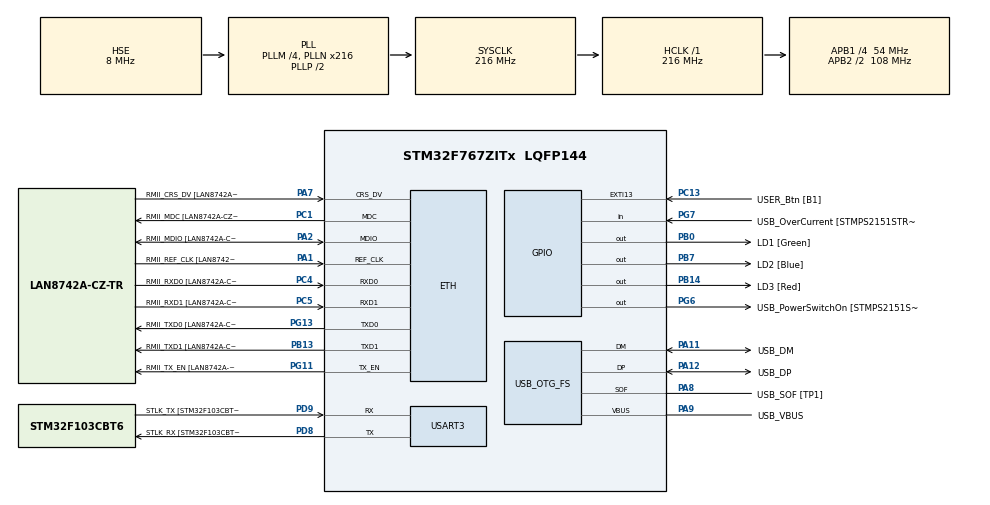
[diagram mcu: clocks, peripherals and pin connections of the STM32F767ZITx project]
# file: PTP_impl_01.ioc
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Dma.Request0=USART3_RX
Dma.Request1=USART3_TX
Dma.USART3_RX.0.Direction=DMA_PERIPH_TO_MEMORY
Dma.USART3_RX.0.FIFOMode=DMA_FIFOMODE_DISABLE
Dma.USART3_RX.0.Instance=DMA1_Stream1
Dma.USART3_RX.0.MemDataAlignment=DMA_MDATAALIGN_BYTE
Dma.USART3_RX.0.MemInc=DMA_MINC_ENABLE
Dma.USART3_RX.0.Mode=DMA_NORMAL
Dma.USART3_RX.0.PeriphDataAlignment=DMA_PDATAALIGN_BYTE
Dma.USART3_RX.0.PeriphInc=DMA_PINC_DISABLE
Dma.USART3_RX.0.Priority=DMA_PRIORITY_LOW
Dma.USART3_TX.1.Direction=DMA_MEMORY_TO_PERIPH
Dma.USART3_TX.1.FIFOMode=DMA_FIFOMODE_DISABLE
Dma.USART3_TX.1.Instance=DMA1_Stream3
Dma.USART3_TX.1.MemDataAlignment=DMA_MDATAALIGN_BYTE
Dma.USART3_TX.1.MemInc=DMA_MINC_ENABLE
Dma.USART3_TX.1.Mode=DMA_NORMAL
Dma.USART3_TX.1.PeriphDataAlignment=DMA_PDATAALIGN_BYTE
Dma.USART3_TX.1.PeriphInc=DMA_PINC_DISABLE
Dma.USART3_TX.1.Priority=DMA_PRIORITY_LOW
ETH.MediaInterface=HAL_ETH_RMII_MODE
ETH.PHY_Name=LAN8742A_PHY_ADDRESS
ETH.PHY_Value=0
ETH.PhyAddress=0
ETH.RxMode=ETH_RXINTERRUPT_MODE
Mcu.Family=STM32F7
Mcu.Name=STM32F767ZITx
Mcu.Package=LQFP144
NVIC.DMA1_Stream1_IRQn=true\:0\:0\:false\:false\:true\:false\:true\:true
NVIC.DMA1_Stream3_IRQn=true\:0\:0\:false\:false\:true\:false\:true\:true
NVIC.ETH_IRQn=true\:0\:0\:false\:false\:true\:true\:true\:true
NVIC.PriorityGroup=NVIC_PRIORITYGROUP_4
PA1.GPIO_Label=RMII_REF_CLK [LAN8742A-CZ-TR_REFCLK0]
PA1.Mode=RMII
PA1.Signal=ETH_REF_CLK
PA10.GPIO_Label=USB_ID
PA10.Signal=USB_OTG_FS_ID
PA11.GPIO_Label=USB_DM
PA11.Mode=Device_Only
PA11.Signal=USB_OTG_FS_DM
PA12.GPIO_Label=USB_DP
PA12.Mode=Device_Only
PA12.Signal=USB_OTG_FS_DP
PA13.GPIO_Label=TMS
PA13.Mode=Serial_Wire
PA13.Signal=SYS_JTMS-SWDIO
PA14.GPIO_Label=TCK
PA14.Mode=Serial_Wire
PA14.Signal=SYS_JTCK-SWCLK
PA2.GPIO_Label=RMII_MDIO [LAN8742A-CZ-TR_MDIO]
PA2.Mode=RMII
PA2.Signal=ETH_MDIO
PA7.GPIO_Label=RMII_CRS_DV [LAN8742A-CZ-TR_CRS_DV]
PA7.Mode=RMII
PA7.Signal=ETH_CRS_DV
PA8.GPIO_Label=USB_SOF [TP1]
PA8.Mode=Activate_SOF_FS
PA8.Signal=USB_OTG_FS_SOF
PA9.GPIO_Label=USB_VBUS
PA9.Mode=Activate_VBUS
PA9.Signal=USB_OTG_FS_VBUS
PB0.GPIO_Label=LD1 [Green]
PB0.Signal=GPIO_Output
PB13.GPIO_Label=RMII_TXD1 [LAN8742A-CZ-TR_TXD1]
PB13.Mode=RMII
PB13.Signal=ETH_TXD1
PB14.GPIO_Label=LD3 [Red]
PB14.Signal=GPIO_Output
PB3.GPIO_Label=SWO
PB3.Signal=SYS_JTDO-SWO
PB7.GPIO_Label=LD2 [Blue]
PB7.Signal=GPIO_Output
PC1.GPIO_Label=RMII_MDC [LAN8742A-CZ-TR_MDC]
PC1.Mode=RMII
PC1.Signal=ETH_MDC
PC13.GPIO_Label=USER_Btn [B1]
PC13.Signal=GPXTI13
PC14/OSC32_IN.Mode=LSE-External-Oscillator
PC14/OSC32_IN.Signal=RCC_OSC32_IN
PC15/OSC32_OUT.Mode=LSE-External-Oscillator
PC15/OSC32_OUT.Signal=RCC_OSC32_OUT
PC4.GPIO_Label=RMII_RXD0 [LAN8742A-CZ-TR_RXD0]
PC4.Mode=RMII
PC4.Signal=ETH_RXD0
PC5.GPIO_Label=RMII_RXD1 [LAN8742A-CZ-TR_RXD1]
PC5.Mode=RMII
PC5.Signal=ETH_RXD1
PD8.GPIO_Label=STLK_RX [STM32F103CBT6_PA3]
PD8.Mode=Asynchronous
PD8.Signal=USART3_TX
PD9.GPIO_Label=STLK_TX [STM32F103CBT6_PA2]
PD9.Mode=Asynchronous
PD9.Signal=USART3_RX
PG11.GPIO_Label=RMII_TX_EN [LAN8742A-CZ-TR_TXEN]
PG11.Mode=RMII
PG11.Signal=ETH_TX_EN
PG13.GPIO_Label=RMII_TXD0 [LAN8742A-CZ-TR_TXD0]
PG13.Mode=RMII
PG13.Signal=ETH_TXD0
PG6.GPIO_Label=USB_PowerSwitchOn [STMPS2151STR_EN]
PG6.Signal=GPIO_Output
PG7.GPIO_Label=USB_OverCurrent [STMPS2151STR_FAULT]
PG7.Signal=GPIO_Input
PH0/OSC_IN.GPIO_Label=MCO [STM32F103CBT6_PA8]
PH0/OSC_IN.Mode=HSE-External-Clock-Source
PH0/OSC_IN.Signal=RCC_OSC_IN
PH1/OSC_OUT.Mode=HSE-External-Clock-Source
PH1/OSC_OUT.Signal=RCC_OSC_OUT
ProjectManager.HeapSize=0x200
ProjectManager.StackSize=0x400
ProjectManager.TargetToolchain=STM32CubeIDE
RCC.48MHZClocksFreq_Value=24000000
RCC.AHBFreq_Value=216000000
RCC.APB1CLKDivider=RCC_HCLK_DIV4
RCC.APB1Freq_Value=54000000
RCC.APB1TimFreq_Value=108000000
RCC.APB2CLKDivider=RCC_HCLK_DIV2
RCC.APB2Freq_Value=108000000
RCC.APB2TimFreq_Value=216000000
RCC.CortexFreq_Value=216000000
RCC.HCLKFreq_Value=216000000
RCC.HSE_VALUE=8000000
RCC.HSI_VALUE=16000000
RCC.PLLM=4
RCC.PLLMUL=RCC_PLL_MUL9
RCC.PLLN=216
RCC.PLLQ=9
RCC.PRESCALERUSB=RCC_USBCLKSOURCE_PLL_DIV1_5
RCC.SYSCLKFreq_VALUE=216000000
RCC.SYSCLKSource=RCC_SYSCLKSOURCE_PLLCLK
RCC.SYSCLKSourceVirtual=RCC_SYSCLKSOURCE_PLLCLK
RCC.USBFreq_Value=48000000
RCC.VCOOutputFreq_Value=432000000
USART3.VirtualMode-Asynchronous=VM_ASYNC
USB_OTG_FS.VirtualMode=Device_Only
board=NUCLEO-F767ZI

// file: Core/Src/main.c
/* USER CODE BEGIN Header */
/**
  ******************************************************************************
  * @file           : main.c
  * @brief          : Main program body
  ******************************************************************************
  * @attention
  *
  * Copyright (c) 2026 STMicroelectronics.
  * All rights reserved.
  *
  * This software is licensed under terms that can be found in the LICENSE file
  * in the root directory of this software component.
  * If no LICENSE file comes with this software, it is provided AS-IS.
  *
  ******************************************************************************
  */
/* USER CODE END Header */
#include "main.h"
#include "string.h"

/* USER CODE BEGIN PD */
#define PTP_SYNC        0
#define PTP_DELAY_REQ   1
#define PTP_FOLLOW_UP   8
#define PTP_DELAY_RESP  9
#define PTP_ANNOUNCE    11
/* USER CODE END PD */

#if defined ( __ICCARM__ ) /*!< IAR Compiler */
#pragma location=0x2007c000
ETH_DMADescTypeDef  DMARxDscrTab[ETH_RX_DESC_CNT]; /* Ethernet Rx DMA Descriptors */
#pragma location=0x2007c0a0
ETH_DMADescTypeDef  DMATxDscrTab[ETH_TX_DESC_CNT]; /* Ethernet Tx DMA Descriptors */

#elif defined ( __CC_ARM )  /* MDK ARM Compiler */

__attribute__((at(0x2007c000))) ETH_DMADescTypeDef  DMARxDscrTab[ETH_RX_DESC_CNT]; /* Ethernet Rx DMA Descriptors */
__attribute__((at(0x2007c0a0))) ETH_DMADescTypeDef  DMATxDscrTab[ETH_TX_DESC_CNT]; /* Ethernet Tx DMA Descriptors */

#elif defined ( __GNUC__ ) /* GNU Compiler */

ETH_DMADescTypeDef DMARxDscrTab[ETH_RX_DESC_CNT] __attribute__((section(".RxDecripSection"))); /* Ethernet Rx DMA Descriptors */
ETH_DMADescTypeDef DMATxDscrTab[ETH_TX_DESC_CNT] __attribute__((section(".TxDecripSection")));   /* Ethernet Tx DMA Descriptors */
#endif

ETH_TxPacketConfig TxConfig;

ETH_HandleTypeDef heth;

UART_HandleTypeDef huart3;
DMA_HandleTypeDef hdma_usart3_rx;
DMA_HandleTypeDef hdma_usart3_tx;

PCD_HandleTypeDef hpcd_USB_OTG_FS;

/* USER CODE BEGIN PV */
uint8_t Rx_Buff[ETH_RX_DESC_CNT][1524];
uint8_t delay_req_frame[58]; //14 b Ethernet header + 44 b PTPv2 Delay_Req by L2

volatile uint32_t sec;
volatile uint32_t nsec;

volatile uint32_t rx_sec;
volatile uint32_t rx_nsec;

volatile uint16_t eth_type;
volatile uint8_t ptp_message;

volatile uint32_t rx_irq_count;
volatile uint32_t ptp_rx_count;

volatile uint32_t rx_hw_sec;
volatile uint32_t rx_hw_nsec;

volatile uint16_t ptp_seq_id;

volatile uint32_t follow_sec;
volatile uint32_t follow_nsec;

volatile uint32_t sync_rx_sec;
volatile uint32_t sync_rx_nsec;

volatile uint16_t sync_seq_id;

volatile int64_t ptp_offset;
volatile int32_t ptp_offset_ns;
volatile int32_t test_offset;

volatile uint8_t ptp_synced = 0;

volatile uint8_t sync_received = 0;

volatile uint16_t delayreq_seq_id = 0;
volatile uint8_t  delayreq_pending = 0;

volatile uint32_t tx_t3_sec;
volatile uint32_t tx_t3_nsec;

volatile uint32_t resp_t4_sec;
volatile uint32_t resp_t4_nsec;

volatile int64_t  mean_path_delay;
volatile int64_t  ptp_offset_e2e;

int64_t t1 = 0;
int64_t t2 = 0;
int64_t t3 = 0;
int64_t t4 = 0;

volatile uint32_t delayreq_tx_desc_idx = 0;
volatile uint8_t  delayreq_tx_ts_waiting = 0;

volatile int64_t offset_avg = 0;

volatile uint32_t delayresp_count = 0;
volatile uint32_t tx_ts_seen = 0;
volatile uint32_t check_1 = 0;
volatile uint32_t check_2 = 0;

volatile int64_t  delta_sync = 0;
volatile int64_t  delta_delay = 0;

/* USER CODE END PV */

void SystemClock_Config(void);
static void MX_GPIO_Init(void);
static void MX_DMA_Init(void);
static void MX_ETH_Init(void);
static void MX_USART3_UART_Init(void);
static void MX_USB_OTG_FS_PCD_Init(void);
static uint8_t PTP_TryReadTxTimestamp(void);

int main(void)
{

  /* MCU Configuration--------------------------------------------------------*/

  /* Reset of all peripherals, Initializes the Flash interface and the Systick. */
  HAL_Init();

  /* Configure the system clock */
  SystemClock_Config();

  /* USER CODE BEGIN SysInit */
  //SCB_DisableDCache();
  /* USER CODE END SysInit */

  /* Initialize all configured peripherals */
  MX_GPIO_Init();
  MX_DMA_Init();
  MX_ETH_Init();
  MX_USART3_UART_Init();
  MX_USB_OTG_FS_PCD_Init();
  /* USER CODE BEGIN 2 */

  HAL_ETH_RegisterRxAllocateCallback(&heth, HAL_ETH_RxAllocateCallback);
  HAL_ETH_RegisterRxLinkCallback(&heth, HAL_ETH_RxLinkCallback);
  HAL_ETH_RegisterTxFreeCallback(&heth, HAL_ETH_TxFreeCallback);

  HAL_NVIC_EnableIRQ(ETH_IRQn);

  HAL_ETH_Start_IT(&heth);
  __HAL_ETH_DMA_ENABLE_IT(&heth, ETH_DMA_IT_T);

  /* Configure PTP clock increment */
  ETH->MACFFR |= ETH_MACFFR_RA | ETH_MACFFR_PM;

  ETH->PTPSSIR = 5;

  /* Configure timestamping */

  ETH->PTPTSCR =
        ETH_PTPTSCR_TSE
      | ETH_PTPTSCR_TSPTPPSV2E
      | ETH_PTPTSCR_TSSPTPOEFE
      | ETH_PTPTSCR_TSSEME
      | ETH_PTPTSCR_TSSSR
      | ETH_PTPTSCR_TSSARFE;

  /* Initialize timestamp */

  ETH->PTPTSHUR = 0;
  ETH->PTPTSLUR = 0;

  ETH->PTPTSCR |= ETH_PTPTSCR_TSSTI;

  /* USER CODE END 2 */

  /* Infinite loop */
  while (1)
  {

    /* USER CODE BEGIN 3 */
	  sec = ETH->PTPTSHR;
	  nsec = ETH->PTPTSLR;

	  PTP_TryReadTxTimestamp();

	  HAL_ETH_ReleaseTxPacket(&heth);

  }
  /* USER CODE END 3 */
}

void SystemClock_Config(void)
{
  RCC_OscInitTypeDef RCC_OscInitStruct = {0};
  RCC_ClkInitTypeDef RCC_ClkInitStruct = {0};

  /** Configure LSE Drive Capability
  */
  HAL_PWR_EnableBkUpAccess();

  /** Configure the main internal regulator output voltage
  */
  __HAL_RCC_PWR_CLK_ENABLE();
  __HAL_PWR_VOLTAGESCALING_CONFIG(PWR_REGULATOR_VOLTAGE_SCALE1);

  /** Initializes the RCC Oscillators according to the specified parameters
  * in the RCC_OscInitTypeDef structure.
  */
  RCC_OscInitStruct.OscillatorType = RCC_OSCILLATORTYPE_HSE;
  RCC_OscInitStruct.HSEState = RCC_HSE_BYPASS;
  RCC_OscInitStruct.PLL.PLLState = RCC_PLL_ON;
  RCC_OscInitStruct.PLL.PLLSource = RCC_PLLSOURCE_HSE;
  RCC_OscInitStruct.PLL.PLLM = 4;
  RCC_OscInitStruct.PLL.PLLN = 216;
  RCC_OscInitStruct.PLL.PLLP = RCC_PLLP_DIV2;
  RCC_OscInitStruct.PLL.PLLQ = 9;
  RCC_OscInitStruct.PLL.PLLR = 2;
  if (HAL_RCC_OscConfig(&RCC_OscInitStruct) != HAL_OK)
  {
    Error_Handler();
  }

  /** Activate the Over-Drive mode
  */
  if (HAL_PWREx_EnableOverDrive() != HAL_OK)
  {
    Error_Handler();
  }

  /** Initializes the CPU, AHB and APB buses clocks
  */
  RCC_ClkInitStruct.ClockType = RCC_CLOCKTYPE_HCLK|RCC_CLOCKTYPE_SYSCLK
                              |RCC_CLOCKTYPE_PCLK1|RCC_CLOCKTYPE_PCLK2;
  RCC_ClkInitStruct.SYSCLKSource = RCC_SYSCLKSOURCE_PLLCLK;
  RCC_ClkInitStruct.AHBCLKDivider = RCC_SYSCLK_DIV1;
  RCC_ClkInitStruct.APB1CLKDivider = RCC_HCLK_DIV4;
  RCC_ClkInitStruct.APB2CLKDivider = RCC_HCLK_DIV2;

  if (HAL_RCC_ClockConfig(&RCC_ClkInitStruct, FLASH_LATENCY_7) != HAL_OK)
  {
    Error_Handler();
  }
}

static void MX_ETH_Init(void)
{

   static uint8_t MACAddr[6];

  heth.Instance = ETH;
  MACAddr[0] = 0x00;
  MACAddr[1] = 0x80;
  MACAddr[2] = 0xE1;
  MACAddr[3] = 0x00;
  MACAddr[4] = 0x00;
  MACAddr[5] = 0x00;
  heth.Init.MACAddr = &MACAddr[0];
  heth.Init.MediaInterface = HAL_ETH_RMII_MODE;
  heth.Init.TxDesc = DMATxDscrTab;
  heth.Init.RxDesc = DMARxDscrTab;
  heth.Init.RxBuffLen = 1524;

  if (HAL_ETH_Init(&heth) != HAL_OK)
  {
    Error_Handler();
  }

  ETH->DMABMR |= ETH_DMABMR_AAB;
  ETH->DMABMR |= ETH_DMABMR_EDE;

  memset(&TxConfig, 0 , sizeof(ETH_TxPacketConfig));
  TxConfig.Attributes = ETH_TX_PACKETS_FEATURES_CSUM | ETH_TX_PACKETS_FEATURES_CRCPAD;
  TxConfig.ChecksumCtrl = ETH_CHECKSUM_IPHDR_PAYLOAD_INSERT_PHDR_CALC;
  TxConfig.CRCPadCtrl = ETH_CRC_PAD_INSERT;

}

static void MX_USART3_UART_Init(void)
{

  huart3.Instance = USART3;
  huart3.Init.BaudRate = 115200;
  huart3.Init.WordLength = UART_WORDLENGTH_8B;
  huart3.Init.StopBits = UART_STOPBITS_1;
  huart3.Init.Parity = UART_PARITY_NONE;
  huart3.Init.Mode = UART_MODE_TX_RX;
  huart3.Init.HwFlowCtl = UART_HWCONTROL_NONE;
  huart3.Init.OverSampling = UART_OVERSAMPLING_16;
  huart3.Init.OneBitSampling = UART_ONE_BIT_SAMPLE_DISABLE;
  huart3.AdvancedInit.AdvFeatureInit = UART_ADVFEATURE_NO_INIT;
  if (HAL_UART_Init(&huart3) != HAL_OK)
  {
    Error_Handler();
  }

}

static void MX_USB_OTG_FS_PCD_Init(void)
{

  hpcd_USB_OTG_FS.Instance = USB_OTG_FS;
  hpcd_USB_OTG_FS.Init.dev_endpoints = 6;
  hpcd_USB_OTG_FS.Init.speed = PCD_SPEED_FULL;
  hpcd_USB_OTG_FS.Init.dma_enable = DISABLE;
  hpcd_USB_OTG_FS.Init.phy_itface = PCD_PHY_EMBEDDED;
  hpcd_USB_OTG_FS.Init.Sof_enable = ENABLE;
  hpcd_USB_OTG_FS.Init.low_power_enable = DISABLE;
  hpcd_USB_OTG_FS.Init.lpm_enable = DISABLE;
  hpcd_USB_OTG_FS.Init.vbus_sensing_enable = ENABLE;
  hpcd_USB_OTG_FS.Init.use_dedicated_ep1 = DISABLE;
  if (HAL_PCD_Init(&hpcd_USB_OTG_FS) != HAL_OK)
  {
    Error_Handler();
  }

}

static void MX_DMA_Init(void)
{

  /* DMA controller clock enable */
  __HAL_RCC_DMA1_CLK_ENABLE();

  /* DMA interrupt init */
  /* DMA1_Stream1_IRQn interrupt configuration */
  HAL_NVIC_SetPriority(DMA1_Stream1_IRQn, 0, 0);
  HAL_NVIC_EnableIRQ(DMA1_Stream1_IRQn);
  /* DMA1_Stream3_IRQn interrupt configuration */
  HAL_NVIC_SetPriority(DMA1_Stream3_IRQn, 0, 0);
  HAL_NVIC_EnableIRQ(DMA1_Stream3_IRQn);

}

static void MX_GPIO_Init(void)
{
  GPIO_InitTypeDef GPIO_InitStruct = {0};

  /* GPIO Ports Clock Enable */
  __HAL_RCC_GPIOC_CLK_ENABLE();
  __HAL_RCC_GPIOH_CLK_ENABLE();
  __HAL_RCC_GPIOA_CLK_ENABLE();
  __HAL_RCC_GPIOB_CLK_ENABLE();
  __HAL_RCC_GPIOD_CLK_ENABLE();
  __HAL_RCC_GPIOG_CLK_ENABLE();

  /*Configure GPIO pin Output Level */
  HAL_GPIO_WritePin(GPIOB, LD1_Pin|LD3_Pin|LD2_Pin, GPIO_PIN_RESET);

  /*Configure GPIO pin Output Level */
  HAL_GPIO_WritePin(USB_PowerSwitchOn_GPIO_Port, USB_PowerSwitchOn_Pin, GPIO_PIN_RESET);

  /*Configure GPIO pin : USER_Btn_Pin */
  GPIO_InitStruct.Pin = USER_Btn_Pin;
  GPIO_InitStruct.Mode = GPIO_MODE_IT_RISING;
  GPIO_InitStruct.Pull = GPIO_NOPULL;
  HAL_GPIO_Init(USER_Btn_GPIO_Port, &GPIO_InitStruct);

  /*Configure GPIO pins : LD1_Pin LD3_Pin LD2_Pin */
  GPIO_InitStruct.Pin = LD1_Pin|LD3_Pin|LD2_Pin;
  GPIO_InitStruct.Mode = GPIO_MODE_OUTPUT_PP;
  GPIO_InitStruct.Pull = GPIO_NOPULL;
  GPIO_InitStruct.Speed = GPIO_SPEED_FREQ_LOW;
  HAL_GPIO_Init(GPIOB, &GPIO_InitStruct);

  /*Configure GPIO pin : USB_PowerSwitchOn_Pin */
  GPIO_InitStruct.Pin = USB_PowerSwitchOn_Pin;
  GPIO_InitStruct.Mode = GPIO_MODE_OUTPUT_PP;
  GPIO_InitStruct.Pull = GPIO_NOPULL;
  GPIO_InitStruct.Speed = GPIO_SPEED_FREQ_LOW;
  HAL_GPIO_Init(USB_PowerSwitchOn_GPIO_Port, &GPIO_InitStruct);

  /*Configure GPIO pin : USB_OverCurrent_Pin */
  GPIO_InitStruct.Pin = USB_OverCurrent_Pin;
  GPIO_InitStruct.Mode = GPIO_MODE_INPUT;
  GPIO_InitStruct.Pull = GPIO_NOPULL;
  HAL_GPIO_Init(USB_OverCurrent_GPIO_Port, &GPIO_InitStruct);

}

/* USER CODE BEGIN 4 */

#define ETH_RX_BUFFER_SIZE 1524

static void PTP_BuildDelayReqFrame(uint8_t *frame, uint16_t seq_id)
{
    memset(frame, 0, 58);

    /* Ethernet header */
    frame[0]  = 0x01;
    frame[1]  = 0x1B;
    frame[2]  = 0x19;
    frame[3]  = 0x00;
    frame[4]  = 0x00;
    frame[5]  = 0x00;

    frame[6]  = 0x00;
    frame[7]  = 0x80;
    frame[8]  = 0xE1;
    frame[9]  = 0x00;
    frame[10] = 0x00;
    frame[11] = 0x00;

    frame[12] = 0x88;
    frame[13] = 0xF7;

    /* PTP header */
    frame[14] = 0x01;      /* messageType = Delay_Req */
    frame[15] = 0x02;      /* versionPTP = 2 */

    frame[16] = 0x00;
    frame[17] = 44;        /* messageLength */

    frame[18] = 0x00;      /* domainNumber */
    frame[19] = 0x00;

    frame[20] = 0x00;      /* flags[15:8] */
    frame[21] = 0x00;      /* flags[7:0] */

    /* correctionField = 0 */
    /* bytes 22..29 already zero */

    /* sourcePortIdentity: пока достаточно clockIdentity + port 1 */
    frame[34] = 0x00;
    frame[35] = 0x80;
    frame[36] = 0xE1;
    frame[37] = 0xFF;
    frame[38] = 0xFE;
    frame[39] = 0x00;
    frame[40] = 0x00;
    frame[41] = 0x00;
    frame[42] = 0x00;
    frame[43] = 0x01;

    frame[44] = (seq_id >> 8) & 0xFF;
    frame[45] = seq_id & 0xFF;

    frame[46] = 0x01;      /* controlField для Delay_Req */
    frame[47] = 0x7F;      /* logMessageInterval */

    /* bytes 48..57 originTimestamp = 0 */
}

static void PTP_SendDelayReq(void)
{
    TxConfig.Attributes = ETH_TX_PACKETS_FEATURES_CSUM |
                          ETH_TX_PACKETS_FEATURES_CRCPAD;

    ETH_BufferTypeDef txBuffer;
    uint32_t seq = ++delayreq_seq_id;

    PTP_BuildDelayReqFrame(delay_req_frame, seq);

    txBuffer.buffer = delay_req_frame;
    txBuffer.len    = sizeof(delay_req_frame);
    txBuffer.next   = NULL;

    TxConfig.Length   = sizeof(delay_req_frame);
    TxConfig.TxBuffer = &txBuffer;

    /* Запоминаем индекс текущего TX descriptor ДО передачи */
    delayreq_tx_desc_idx = heth.TxDescList.CurTxDesc;

    ETH_DMADescTypeDef *txdesc =
            (ETH_DMADescTypeDef *)heth.TxDescList.TxDesc[delayreq_tx_desc_idx];

        uint32_t *td = (uint32_t *)txdesc;

        td[0] |= (1UL << 25);   // TDES0.TTSE = request TX timestamp for this frame

    if (HAL_ETH_Transmit_IT(&heth, &TxConfig) == HAL_OK)
    {
        delayreq_pending = 1;
        delayreq_tx_ts_waiting = 1;
    }
}

static uint8_t PTP_TryReadTxTimestamp(void)
{
    if (!delayreq_tx_ts_waiting)
        return 0;

    ETH_DMADescTypeDef *txdesc =
        (ETH_DMADescTypeDef *)heth.TxDescList.TxDesc[delayreq_tx_desc_idx];

    uint32_t *td = (uint32_t *)txdesc;

    if ((td[0] & (1UL << 31)) == 0) // OWN = 0
    {
        if (td[0] & (1UL << 17))   // TTSS
        {
            tx_t3_nsec = td[6];
            tx_t3_sec  = td[7];
            tx_ts_seen++;

            delayreq_tx_ts_waiting = 0;
            return 1;
        }
    }

    return 0;
}

static uint32_t PTP_ParseSecondsLow32(const uint8_t *ts)
{
    return ((uint32_t)ts[2] << 24) |
           ((uint32_t)ts[3] << 16) |
           ((uint32_t)ts[4] << 8)  |
           ((uint32_t)ts[5]);
}

static uint32_t PTP_ParseNanoseconds(const uint8_t *ts)
{
    return ((uint32_t)ts[6] << 24) |
           ((uint32_t)ts[7] << 16) |
           ((uint32_t)ts[8] << 8)  |
           ((uint32_t)ts[9]);
}

static int64_t PTP_ToNs(uint32_t sec, uint32_t nsec)
{
    return ((int64_t)sec * 1000000000LL) + (int64_t)nsec;
}

void HAL_ETH_RxAllocateCallback(uint8_t **buff)
{
	static uint32_t idx = 0;

	*buff = Rx_Buff[idx];

	idx++;
	if (idx >= ETH_RX_DESC_CNT)
	    idx = 0;
}

void HAL_ETH_RxLinkCallback(void **pStart, void **pEnd, uint8_t *buff, uint16_t len)
{
    if (*pStart == NULL)
    {
        *pStart = buff;
    }
    else
    {
        *(uint8_t **)(*pEnd) = buff;
    }

    *pEnd = buff;
}

void HAL_ETH_TxFreeCallback(uint32_t *buff)
{
//    ETH_DMADescTypeDef *desc = (ETH_DMADescTypeDef*)buff;
//    uint32_t *d = (uint32_t*)desc;
//
//    tx_ts_seen++;
//
//    if (d[0] & (1 << 17))
//    {
//    	tx_t3_nsec = d[6];
//    	tx_t3_sec  = d[7];
//
//    }
//    else
//    {
//        return; // или игнор пакета
//    }

	(void)buff;

}

void HAL_ETH_RxCpltCallback(ETH_HandleTypeDef *heth)

{
    uint8_t *buf = NULL;

    if (HAL_ETH_ReadData(heth, (void**)&buf) == HAL_OK)
    {
        rx_irq_count++;

        eth_type = ((uint16_t)buf[12] << 8) | buf[13];
        rx_sec = ETH->PTPTSHR;
        rx_nsec = ETH->PTPTSLR;

        if (eth_type == 0x88F7)
        {
            ptp_message = buf[14] & 0x0F;
            ptp_seq_id = ((uint16_t)buf[44] << 8) | buf[45];
            ptp_rx_count++;

            uint32_t idx = heth->RxDescList.RxDescIdx;

            if (idx == 0)
                idx = ETH_RX_DESC_CNT - 1;
            else
                idx--;

            ETH_DMADescTypeDef *desc =
                (ETH_DMADescTypeDef *)heth->RxDescList.RxDesc[idx];

            uint32_t *d = (uint32_t*)desc;

            if (d[0] & (1 << 17))   // timestamp valid
            {
                rx_hw_nsec = d[6];
                rx_hw_sec  = d[7];
            }

            if (ptp_message == PTP_SYNC)
            {
                sync_seq_id = ptp_seq_id;

                sync_rx_sec  = rx_hw_sec;
                sync_rx_nsec = rx_hw_nsec;

                sync_received = 1;
            }

            if (ptp_message == PTP_FOLLOW_UP)
            {
            	const uint8_t *ts = &buf[48];

            	follow_sec  = PTP_ParseSecondsLow32(ts);
            	follow_nsec = PTP_ParseNanoseconds(ts);

                if (ptp_seq_id == sync_seq_id && sync_received)
                {

                    if (ptp_synced)
                    {
//                        if (ptp_offset_ns > 50000 || ptp_offset_ns < -50000)
//                        {
//                            int32_t corr = -ptp_offset_ns;
//                            uint32_t update;
//
//                            if (corr < 0)
//                            {
//                                update = ((uint32_t)(-corr) & 0x7FFFFFFF) | (1UL << 31);
//                            }
//                            else
//                            {
//                                update = (uint32_t)corr & 0x7FFFFFFF;
//                            }
//
//                            if (!(ETH->PTPTSCR & ETH_PTPTSCR_TSSTU))
//                            {
//                                ETH->PTPTSHUR = 0;       // обязательно
//                                ETH->PTPTSLUR = update;
//                                ETH->PTPTSCR |= ETH_PTPTSCR_TSSTU;
//                            }
//                        }
                    }

                    /* ---------- INITIAL SYNC ---------- */

                    if (!ptp_synced)
                    {
                    	check_1++;
                        if (!(ETH->PTPTSCR & ETH_PTPTSCR_TSSTI))
                        {
                            ETH->PTPTSHUR = follow_sec;
                            ETH->PTPTSLUR = follow_nsec;

                            ETH->PTPTSCR |= ETH_PTPTSCR_TSSTI;

                            ptp_synced = 1;
                        }
                    }

                    if (ptp_synced && !delayreq_pending)
                    {
                    	PTP_SendDelayReq();
                    }

                }
            }

            /* ---------- PTP_DELAY_RESP ---------- */

            if (ptp_message == PTP_DELAY_RESP)
            {
                const uint8_t *ts = &buf[48];

                resp_t4_sec  = PTP_ParseSecondsLow32(ts);
                resp_t4_nsec = PTP_ParseNanoseconds(ts);

                if (ptp_seq_id == delayreq_seq_id)
                {
                    delayresp_count++;
                    delayreq_pending = 0;

                    if (tx_t3_sec == 0 && tx_t3_nsec == 0)
                    	return;

                    // calvulate timestaps
                    t1 = PTP_ToNs(follow_sec, follow_nsec);
                    t2 = PTP_ToNs(sync_rx_sec, sync_rx_nsec);

                    if (delayreq_tx_ts_waiting)
                        return;

                    t3 = PTP_ToNs(tx_t3_sec, tx_t3_nsec);
                    t4 = PTP_ToNs(resp_t4_sec, resp_t4_nsec);

                    delta_sync = t2 - t1;
                    delta_delay = t4 - t3;

                    mean_path_delay = ((t2 - t1) + (t4 - t3)) / 2;
                    ptp_offset_e2e  = ((t2 - t1) - (t4 - t3)) / 2;

                    offset_avg = (offset_avg * 3 + ptp_offset_e2e) / 4;

                    if (offset_avg > 100000LL || offset_avg < -100000LL)
                    {
                        int64_t corr = -(offset_avg / 8);
                        if (corr > 1000000LL)  corr = 1000000LL;
                        if (corr < -1000000LL) corr = -1000000LL;

                        uint32_t sec_upd = 0;
                        uint32_t nsec_upd = 0;

                        if (corr < 0)
                        {
                            int64_t mag = -corr;

                            sec_upd  = (uint32_t)(mag / 1000000000LL);
                            nsec_upd = (uint32_t)(mag % 1000000000LL);
                            nsec_upd |= (1UL << 31);   // negative update
                        }
                        else
                        {
                            sec_upd  = (uint32_t)(corr / 1000000000LL);
                            nsec_upd = (uint32_t)(corr % 1000000000LL);
                        }

                        if (!(ETH->PTPTSCR & ETH_PTPTSCR_TSSTU))
                        {
                            ETH->PTPTSHUR = sec_upd;
                            ETH->PTPTSLUR = nsec_upd;
                            ETH->PTPTSCR |= ETH_PTPTSCR_TSSTU;
                        }
                    }

                }
            }

            HAL_GPIO_TogglePin(LD3_GPIO_Port, LD3_Pin);
        }
    }
}

/* USER CODE END 4 */

void Error_Handler(void)
{
  __disable_irq();
  while (1)
  {
  }
}
